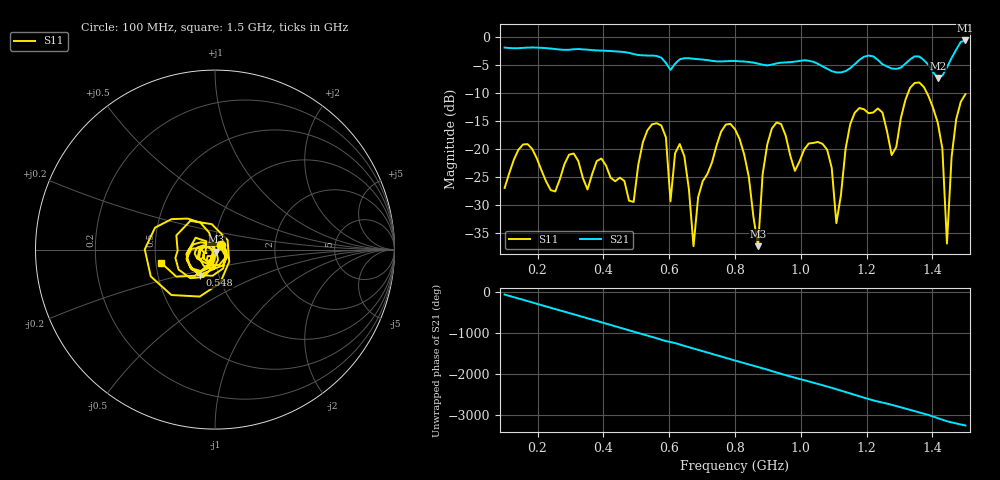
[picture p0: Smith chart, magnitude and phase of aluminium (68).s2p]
! NanoVNA-App
! Date: 2025-09-26 09:58:35
! Start: 100MHz Stop: 1,5GHz Points: 101
! S-Parameter data: F S11 S21 S12 S22
# Hz S RI R 50
!  Frequency  S11_Real  S11_Imag  S21_Real  S21_Imag  S12_Real  S12_Imag  S22_Real  S22_Imag
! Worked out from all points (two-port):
!   101 points, 100 MHz to 1.5 GHz, reference 50 ohm
!   highest |S21| = -0.64 dB at 1.5 GHz (marker M1); lowest = -7.3 dB at 1.416 GHz (marker M2)
!   |S21| within 3 dB of the highest: start of sweep to 572.5 MHz; 1.19 GHz to 1.224 GHz (33.81 MHz wide, 2.8 % of centre)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
!   lowest |S11| = -37.4 dB at 870 MHz (marker M3), VSWR 1.03, Z = 50.8 - j1.11 ohm
!   |S11| at or under -10 dB: start of sweep to 1.326 GHz; 1.383 GHz to end of sweep
!   S12 and S22 are empty: the file has one direction only
!   S11 on the Smith chart (normalised r, x): 100 MHz: 1.07, +0.06; 548 MHz: 0.81, -0.24; 1.5 GHz: 0.54, -0.09
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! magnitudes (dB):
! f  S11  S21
! 100 MHz  -27.0  -1.9
! 156 MHz  -19.2  -2.0
! 338 MHz  -25.2  -2.2
! 492 MHz  -29.5  -3.1
! 548 MHz  -15.6  -3.3
! 576 MHz  -15.8  -3.7
! 604 MHz  -29.4  -5.9
! 646 MHz  -21.3  -3.8
! 674 MHz  -37.4  -3.9
! 800 MHz  -16.5  -4.3
! 870 MHz  -37.4  -4.8
! 912 MHz  -16.4  -5.0
! 1.038 GHz  -18.9  -4.4
! 1.08 GHz  -20.2  -5.7
! 1.108 GHz  -33.3  -6.3
! 1.164 GHz  -13.5  -4.9
! 1.276 GHz  -21.1  -5.7
! 1.346 GHz  -8.2  -3.5
! 1.416 GHz  -15.3  -7.3
! 1.444 GHz  -36.9  -5.5
! 1.472 GHz  -14.7  -2.3
! 1.5 GHz  -10.2  -0.6
